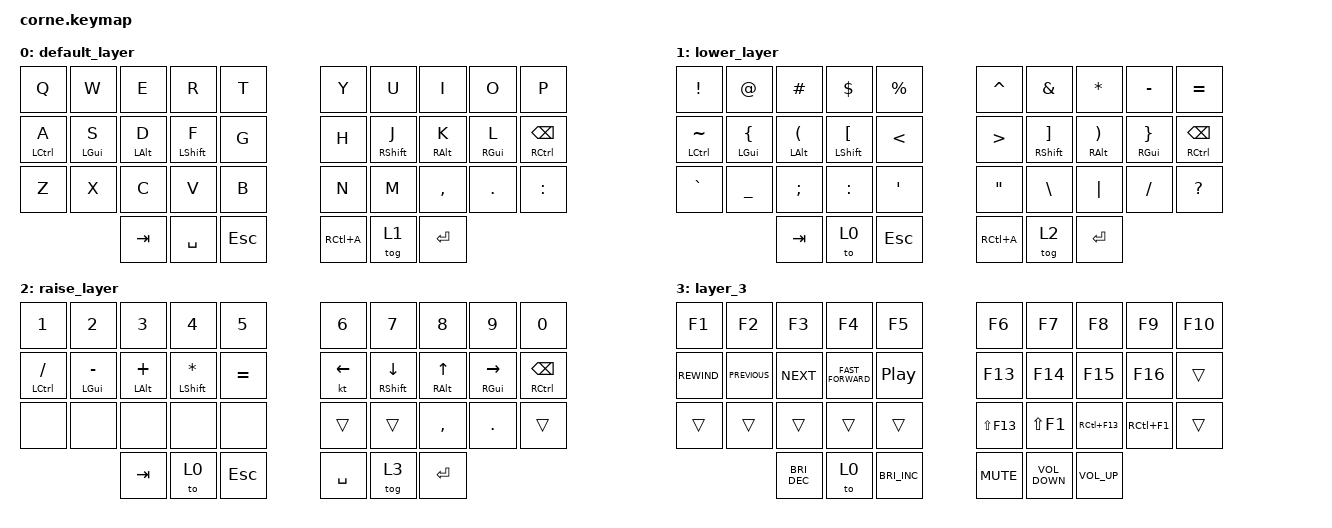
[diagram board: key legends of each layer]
/*
 * Copyright (c) 2020 The ZMK Contributors
 *
 * SPDX-License-Identifier: MIT
 */

#include <behaviors.dtsi>
#include <dt-bindings/zmk/keys.h>
#include <dt-bindings/zmk/keys.h>

/ {
    chosen { zmk,matrix_transform = &five_column_transform; };

    behaviors {
        hml: hml {
            compatible = "zmk,behavior-hold-tap";
            label = "HML";
            bindings = <&kp>, <&kp>;

            #binding-cells = <2>;
            tapping-term-ms = <280>;
            quick-tap-ms = <175>;
            flavor = "balanced";
            hold-trigger-key-positions = <29 19 9 8 5 6 8 15 16 17 18 25 26 27 28 33 34 35 7 30 31 32>;
            hold-trigger-on-release;
            require-prior-idle-ms = <150>;
        };

        hmr: hmr {
            compatible = "zmk,behavior-hold-tap";
            label = "HMR";
            bindings = <&kp>, <&kp>;

            #binding-cells = <2>;
            tapping-term-ms = <280>;
            quick-tap-ms = <175>;
            flavor = "balanced";
            hold-trigger-on-release;
            hold-trigger-key-positions = <0 1 2 3 4 10 11 12 13 14 20 21 22 23 24 30 31 32 33 35 34>;
            require-prior-idle-ms = <150>;
        };
    };

    macros {
        tmux: tmux {
            compatible = "zmk,behavior-macro";
            #binding-cells = <0>;
            bindings = <&kp RIGHT_CONTROL &kp A>;
            label = "TMUX";
        };

        tog_emit_lower: tog_emit {
            compatible = "zmk,behavior-macro";
            #binding-cells = <0>;
            bindings = <&tog 1 &kp LS(F1)>;
            label = "TOG_EMIT";
        };

        tog_emit_raise: tog_emit_raise {
            compatible = "zmk,behavior-macro";
            #binding-cells = <0>;
            bindings = <&tog 2 &kp LS(F2)>;
            label = "TOG_EMIT_RAISE";
        };

        tog_emit_3: tog_emit_3 {
            compatible = "zmk,behavior-macro";
            #binding-cells = <0>;
            bindings = <&tog 3 &kp LS(F3)>;
            label = "TOG_EMIT_3";
        };

        to_default: to_default {
            compatible = "zmk,behavior-macro";
            #binding-cells = <0>;
            bindings = <&to 0 &kp LS(F4)>;
            label = "TO_DEFAULT";
        };
    };

    keymap {
        compatible = "zmk,keymap";

        default_layer {
            // -----------------------------------------------------------------------------------------
            // |  TAB |  Q  |  W  |  E  |  R  |  T  |   |  Y  |  U   |  I  |  O  |  P  | BKSP |
            // | CTRL |  A  |  S  |  D  |  F  |  G  |   |  H  |  J   |  K  |  L  |  ;  |  '   |
            // | SHFT |  Z  |  X  |  C  |  V  |  B  |   |  N  |  M   |  ,  |  .  |  /  | ESC  |
            //                    | GUI | LWR | SPC |   | ENT | RSE  | ALT |

            bindings = <
  &kp Q                &kp W            &kp E            &kp R              &kp T      &kp Y      &kp U               &kp I             &kp O             &kp P
  &hml LEFT_CONTROL A  &hml LEFT_GUI S  &hml LEFT_ALT D  &hml LEFT_SHIFT F  &kp G      &kp H      &hmr RIGHT_SHIFT J  &hmr RIGHT_ALT K  &hmr RIGHT_GUI L  &hmr RIGHT_CONTROL BACKSPACE
  &kp Z                &kp X            &kp C            &kp V              &kp B      &kp N      &kp M               &kp COMMA         &kp PERIOD        &kp COLON
                                        &kp TAB          &kp SPACE          &kp ESC    &kp RC(A)  &tog 1              &kp RETURN
            >;
        };

        lower_layer {
            // -----------------------------------------------------------------------------------------
            // |  TAB |  1  |  2  |  3  |  4  |  5  |   |  6  |  7  |  8  |  9  |  0  | BKSP |
            // | BTCLR| BT1 | BT2 | BT3 | BT4 | BT5 |   | LFT | DWN |  UP | RGT |     |      |
            // | SHFT |     |     |     |     |     |   |     |     |     |     |     |      |
            //                    | GUI |     | SPC |   | ENT |     | ALT |

            bindings = <
  &kp EXCLAMATION          &kp AT_SIGN               &kp HASH                        &kp DOLLAR                    &kp PERCENT         &kp CARET          &kp AMPERSAND                   &kp ASTERISK                      &kp MINUS                   &kp EQUAL
  &hml LEFT_CONTROL TILDE  &hml LEFT_GUI LEFT_BRACE  &hml LEFT_ALT LEFT_PARENTHESIS  &hml LEFT_SHIFT LEFT_BRACKET  &kp LESS_THAN       &kp GREATER_THAN   &hmr RIGHT_SHIFT RIGHT_BRACKET  &hmr RIGHT_ALT RIGHT_PARENTHESIS  &hmr RIGHT_GUI RIGHT_BRACE  &hmr RIGHT_CONTROL BACKSPACE
  &kp GRAVE                &kp UNDERSCORE            &kp SEMI                        &kp COLON                     &kp SINGLE_QUOTE    &kp DOUBLE_QUOTES  &kp BACKSLASH                   &kp PIPE                          &kp SLASH                   &kp QUESTION
                                                     &kp TAB                         &to 0                         &kp ESC             &kp RC(A)          &tog 2                          &kp RETURN
            >;
        };

        raise_layer {
            // -----------------------------------------------------------------------------------------
            // |  TAB |  !  |  @  |  #  |  $  |  %  |   |  ^  |  &  |  *  |  (  |  )  | BKSP |
            // | CTRL |     |     |     |     |     |   |  -  |  =  |  [  |  ]  |  \  |  `   |
            // | SHFT |     |     |     |     |     |   |  _  |  +  |  {  |  }  | "|" |  ~   |
            //                    | GUI |     | SPC |   | ENT |     | ALT |

            bindings = <
  &kp NUMBER_1             &kp NUMBER_2         &kp NUMBER_3        &kp NUMBER_4              &kp N5       &kp NUMBER_6  &kp N7                 &kp N8             &kp N9                &kp N0
  &hml LEFT_CONTROL SLASH  &hml LEFT_GUI MINUS  &hml LEFT_ALT PLUS  &hml LEFT_SHIFT ASTERISK  &kp EQUAL    &kt LEFT      &hmr RIGHT_SHIFT DOWN  &hmr RIGHT_ALT UP  &hmr RIGHT_GUI RIGHT  &hmr RIGHT_CONTROL BACKSPACE
  &none                    &none                &none               &none                     &none        &trans        &trans                 &kp COMMA          &kp PERIOD            &trans
                                                &kp TAB             &to 0                     &kp ESC      &kp SPACE     &tog 3                 &kp ENTER
            >;
        };

        layer_3 {
            bindings = <
  &kp F1        &kp F2          &kp F3                &kp F4              &kp F5                  &kp F6       &kp F7             &kp F8           &kp F9      &kp F10
  &kp C_REWIND  &kp C_PREVIOUS  &kp C_NEXT            &kp C_FAST_FORWARD  &kp C_PLAY_PAUSE        &kp F13      &kp F14            &kp F15          &kp F16     &trans
  &trans        &trans          &trans                &trans              &trans                  &kp LS(F13)  &kp LS(F1)         &kp RC(F13)      &kp RC(F1)  &trans
                                &kp C_BRIGHTNESS_DEC  &to 0               &kp C_BRIGHTNESS_INC    &kp K_MUTE   &kp C_VOLUME_DOWN  &kp C_VOLUME_UP
            >;
        };
    };
};
